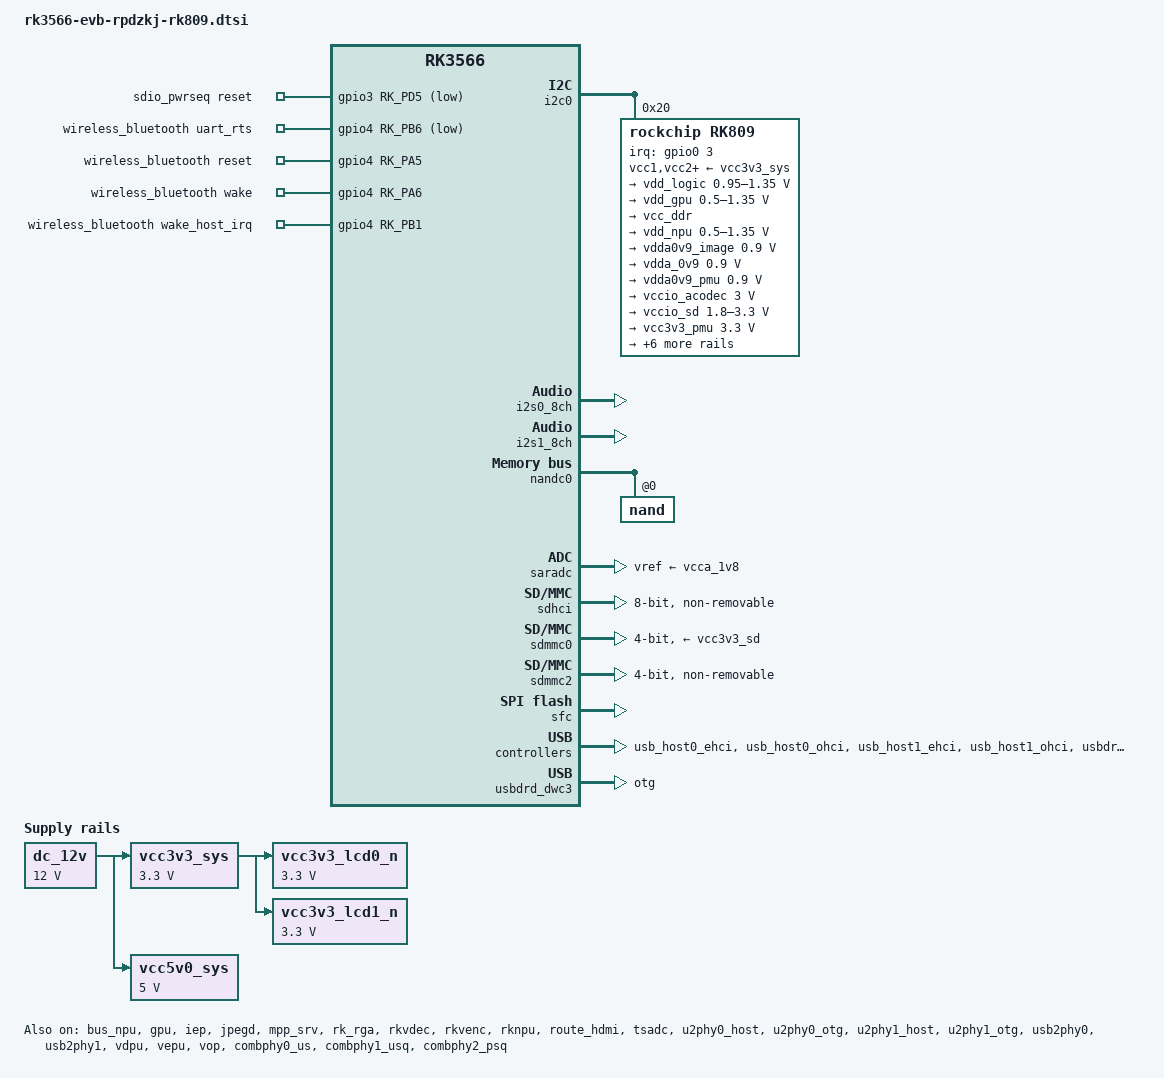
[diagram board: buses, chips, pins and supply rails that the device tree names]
// SPDX-License-Identifier: (GPL-2.0+ OR MIT)
/*
 * Copyright (c) 2020 Rockchip Electronics Co., Ltd.
 *
 */

#include <dt-bindings/gpio/gpio.h>
#include <dt-bindings/pwm/pwm.h>
#include <dt-bindings/pinctrl/rockchip.h>
#include <dt-bindings/input/rk-input.h>
#include <dt-bindings/display/drm_mipi_dsi.h>
#include <dt-bindings/sensor-dev.h>
#include <dt-bindings/gpio/gpio.h>
#include <dt-bindings/pinctrl/rockchip.h>


#include "rk3566.dtsi"

/ {
	
	rpdzkj:rpdzkj_config {
		compatible = "rp_config";
		user_version = "rpdzkj";
		system_rotate = "0";
		csi_camera_rotate = "0"; //all csi camera rotation //0 90 180 270 //no effect
		csi_camera_facing = "0"; //0:auto  1:all front   2:all back //no effect
		usb_camera_rotate = "0"; //all usb camera rotation //0 90 180 270 
		usb_camera_facing = "0"; //0:auto  1:all front   2:all back
		lcd_density = "160";
		language = "zh-CN";   //zh-CN //en-US
		time_zone = "Asia/Shanghai"; //Asia/Shanghai = +8   //Europe/London  = +1       //Africa/Casablanca     = +0;
		not_navigation_bar = "false";
		not_status_bar = "false";
		default_launcher = "true";
		has_root = "true";
		usb_not_permission = "true";
		gps_use = "false";
		gps_serial_port = "/dev/ttyS4";
		primary_device = "DSI";
		extend_device = "HDMI-A";
		extend_rotate = "0";
		rotation_efull = "false";
		home_apk = "null";
		status = "okay";
	};
  
  
	edp_panel:panel {
		status = "disabled";
	};

	lvds_panel: panel@0 {
		status = "disabled";
	};



	audiopwmout_diff: audiopwmout-diff {
		status = "disabled";
		compatible = "simple-audio-card";
		simple-audio-card,format = "i2s";
		simple-audio-card,name = "rockchip,audiopwmout-diff";
		simple-audio-card,mclk-fs = <256>;
		simple-audio-card,bitclock-master = <&master>;
		simple-audio-card,frame-master = <&master>;
		simple-audio-card,cpu {
			sound-dai = <&i2s3_2ch>;
		};
		master: simple-audio-card,codec {
			sound-dai = <&dig_acodec>;
		};
	};
        
        
        
	rk_headset: rk-headset {
		compatible = "rockchip_headset";
//		headset_gpio = <&gpio1 RK_PB0 GPIO_ACTIVE_HIGH>;
	};
	

	dc_12v: dc-12v {
		compatible = "regulator-fixed";
		regulator-name = "dc_12v";
		regulator-always-on;
		regulator-boot-on;
		regulator-min-microvolt = <12000000>;
		regulator-max-microvolt = <12000000>;
	};

	hdmi_sound: hdmi-sound {
		status = "disabled";
		compatible = "rockchip,hdmi";
		rockchip,mclk-fs = <128>;
		rockchip,card-name = "rockchip,hdmi";
		rockchip,cpu = <&i2s0_8ch>;
		rockchip,codec = <&hdmi>;
	};
/*
	leds: leds {
		compatible = "gpio-leds";
		work_led: work {
			gpios = <&gpio0 RK_PC0 GPIO_ACTIVE_HIGH>;
			linux,default-trigger = "heartbeat";
		};
	};
*/
	pdmics: dummy-codec {
		status = "disabled";
		compatible = "rockchip,dummy-codec";
		#sound-dai-cells = <0>;
	};

	pdm_mic_array: pdm-mic-array {
		status = "disabled";
		compatible = "simple-audio-card";
		simple-audio-card,name = "rockchip,pdm-mic-array";
		simple-audio-card,cpu {
			sound-dai = <&pdm>;
		};
		simple-audio-card,codec {
			sound-dai = <&pdmics>;
		};
	};

	rk809_sound: rk809-sound {
		status = "okay";
		compatible = "simple-audio-card";
		simple-audio-card,format = "i2s";
		simple-audio-card,name = "rockchip,rk809-codec";
		simple-audio-card,mclk-fs = <256>;

		simple-audio-card,cpu {
			sound-dai = <&i2s1_8ch>;
		};
		simple-audio-card,codec {
			sound-dai = <&rk809_codec>;
		};
	};

	spdif-sound {
		status = "disabled";
		compatible = "simple-audio-card";
		simple-audio-card,name = "ROCKCHIP,SPDIF";
		simple-audio-card,cpu {
				sound-dai = <&spdif_8ch>;
		};
		simple-audio-card,codec {
				sound-dai = <&spdif_out>;
		};
	};

	spdif_out: spdif-out {
			status = "disabled";
			compatible = "linux,spdif-dit";
			#sound-dai-cells = <0>;
	};

	vad_sound: vad-sound {
		status = "disabled";
		compatible = "rockchip,multicodecs-card";
		rockchip,card-name = "rockchip,rk3568-vad";
		rockchip,cpu = <&i2s1_8ch>;
		rockchip,codec = <&rk809_codec>, <&vad>;
	};

	vcc3v3_sys: vcc3v3-sys {
		compatible = "regulator-fixed";
		regulator-name = "vcc3v3_sys";
		regulator-always-on;
		regulator-boot-on;
		regulator-min-microvolt = <3300000>;
		regulator-max-microvolt = <3300000>;
		vin-supply = <&dc_12v>;
	};

	vcc5v0_sys: vcc5v0-sys {
		compatible = "regulator-fixed";
		regulator-name = "vcc5v0_sys";
		regulator-always-on;
		regulator-boot-on;
		regulator-min-microvolt = <5000000>;
		regulator-max-microvolt = <5000000>;
		vin-supply = <&dc_12v>;
	};
/*
	vcc5v0_usb: vcc5v0-usb {
		compatible = "regulator-fixed";
		regulator-name = "vcc5v0_usb";
		regulator-always-on;
		regulator-boot-on;
		regulator-min-microvolt = <5000000>;
		regulator-max-microvolt = <5000000>;
		vin-supply = <&dc_12v>;
	};

	vcc5v0_host: vcc5v0-host-regulator {
		compatible = "regulator-fixed";
		regulator-name = "vcc5v0_host";
		regulator-boot-on;
		regulator-always-on;
		regulator-min-microvolt = <5000000>;
		regulator-max-microvolt = <5000000>;
		enable-active-high;
//		gpio = <&gpio0 RK_PA6 GPIO_ACTIVE_HIGH>;
//		pinctrl-names = "default";
//		pinctrl-0 = <&vcc5v0_host_en>;
	};


	vcc5v0_otg: vcc5v0-otg-regulator {
		compatible = "regulator-fixed";
		regulator-name = "vcc5v0_otg";
		regulator-min-microvolt = <5000000>;
		regulator-max-microvolt = <5000000>;
		enable-active-high;
//		gpio = <&gpio0 RK_PA5 GPIO_ACTIVE_HIGH>;
		vin-supply = <&vcc5v0_usb>;
//		pinctrl-names = "default";
//		pinctrl-0 = <&vcc5v0_otg_en>;
	};

	vcc3v3_bu: vcc3v3-bu {
		compatible = "regulator-fixed";
		regulator-name = "vcc3v3_bu";
		regulator-always-on;
		regulator-boot-on;
		regulator-min-microvolt = <3300000>;
		regulator-max-microvolt = <3300000>;
		vin-supply = <&vcc5v0_sys>;
	};
*/

/*
	vcc3v3_lcd_n: vcc3v3-lcd-n {
		compatible = "regulator-fixed";
		regulator-name = "vcc3v3_lcd_n";
		regulator-boot-on;
		regulator-min-microvolt = <3300000>;
		regulator-max-microvolt = <3300000>;
		enable-active-high;
//		gpio = <&gpio0 RK_PC7 GPIO_ACTIVE_HIGH>;
		vin-supply = <&vcc3v3_sys>;

		regulator-state-mem {
			regulator-off-in-suspend;
		};
	};
*/
	vcc3v3_lcd0_n: vcc3v3-lcd0-n {
		compatible = "regulator-fixed";
		regulator-name = "vcc3v3_lcd0_n";
		regulator-boot-on;
		regulator-min-microvolt = <3300000>;
		regulator-max-microvolt = <3300000>;
		enable-active-high;
//		gpio = <&gpio0 RK_PC7 GPIO_ACTIVE_HIGH>;
		vin-supply = <&vcc3v3_sys>;

		regulator-state-mem {
			regulator-off-in-suspend;
		};
	};

	vcc3v3_lcd1_n: vcc3v3-lcd1-n {
		compatible = "regulator-fixed";
		regulator-name = "vcc3v3_lcd1_n";
		regulator-boot-on;
		regulator-min-microvolt = <3300000>;
		regulator-max-microvolt = <3300000>;
		enable-active-high;
//		gpio = <&gpio0 RK_PC5 GPIO_ACTIVE_HIGH>;
		vin-supply = <&vcc3v3_sys>;

		regulator-state-mem {
			regulator-off-in-suspend;
		};
	};
	
/*	
	vcc2v5_sys: vcc2v5-ddr {
		compatible = "regulator-fixed";
		regulator-name = "vcc2v5-sys";
		regulator-always-on;
		regulator-boot-on;
		regulator-min-microvolt = <2500000>;
		regulator-max-microvolt = <2500000>;
		vin-supply = <&vcc3v3_sys>;
	};
*/


	sdio_pwrseq: sdio-pwrseq {
		compatible = "mmc-pwrseq-simple";
		clocks = <&rk809 1>;
		clock-names = "ext_clock";
		pinctrl-names = "default";
		pinctrl-0 = <&wifi_enable_h>;

		/*
		 * On the module itself this is one of these (depending
		 * on the actual card populated):
		 * - SDIO_RESET_L_WL_REG_ON
		 * - PDN (power down when low)
		 */
		post-power-on-delay-ms = <200>;
		reset-gpios = <&gpio3 RK_PD5 GPIO_ACTIVE_LOW>;
	};

	wireless_wlan: wireless-wlan {
		compatible = "wlan-platdata";
		rockchip,grf = <&grf>;
		wifi_chip_type = "ap6398s";
		status = "okay";
	};

	wireless_bluetooth: wireless-bluetooth {
		compatible = "bluetooth-platdata";
		clocks = <&rk809 1>;
		clock-names = "ext_clock";
		//wifi-bt-power-toggle;
	uart_rts_gpios = <&gpio4 RK_PB6 GPIO_ACTIVE_LOW>;
	pinctrl-names = "default", "rts_gpio";
	pinctrl-0 = <&uart1m1_rtsn>;
	pinctrl-1 = <&uart1_gpios>;
	BT,reset_gpio    = <&gpio4 RK_PA5 GPIO_ACTIVE_HIGH>;
	BT,wake_gpio     = <&gpio4 RK_PA6 GPIO_ACTIVE_HIGH>;
	BT,wake_host_irq = <&gpio4 RK_PB1 GPIO_ACTIVE_HIGH>;
		status = "okay";
	};

	test-power {
		status = "okay";
	};
};

&bus_npu {
	bus-supply = <&vdd_logic>;
	pvtm-supply = <&vdd_cpu>;
	status = "okay";
};

&cpu0 {
	cpu-supply = <&vdd_cpu>;
};

&dfi {
	status = "disabled";
};

&dmc {
	center-supply = <&vdd_logic>;
	status = "disabled";
};


&gpu {
	mali-supply = <&vdd_gpu>;
	status = "okay";
};


&i2c0 {
	status = "okay";
	rk809: pmic@20 {
		compatible = "rockchip,rk809";
		reg = <0x20>;
		interrupt-parent = <&gpio0>;
		interrupts = <3 IRQ_TYPE_LEVEL_LOW>;

		pinctrl-names = "default", "pmic-sleep",
				"pmic-power-off", "pmic-reset";
		pinctrl-0 = <&pmic_int>;
		pinctrl-1 = <&soc_slppin_slp>, <&rk817_slppin_slp>;
		pinctrl-2 = <&soc_slppin_gpio>, <&rk817_slppin_pwrdn>;
		pinctrl-3 = <&soc_slppin_gpio>, <&rk817_slppin_rst>;

		rockchip,system-power-controller;
		wakeup-source;
		#clock-cells = <1>;
		clock-output-names = "rk808-clkout1", "rk808-clkout2";
		//fb-inner-reg-idxs = <2>;
		/* 1: rst regs (default in codes), 0: rst the pmic */
		pmic-reset-func = <0>;
		/* not save the PMIC_POWER_EN register in uboot */
		not-save-power-en = <1>;

		vcc1-supply = <&vcc3v3_sys>;
		vcc2-supply = <&vcc3v3_sys>;
		vcc3-supply = <&vcc3v3_sys>;
		vcc4-supply = <&vcc3v3_sys>;
		vcc5-supply = <&vcc3v3_sys>;
		vcc6-supply = <&vcc3v3_sys>;
		vcc7-supply = <&vcc3v3_sys>;
		vcc8-supply = <&vcc3v3_sys>;
		vcc9-supply = <&vcc3v3_sys>;

		pwrkey {
			status = "okay";
		};

		pinctrl_rk8xx: pinctrl_rk8xx {
			gpio-controller;
			#gpio-cells = <2>;

			rk817_slppin_null: rk817_slppin_null {
				pins = "gpio_slp";
				function = "pin_fun0";
			};

			rk817_slppin_slp: rk817_slppin_slp {
				pins = "gpio_slp";
				function = "pin_fun1";
			};

			rk817_slppin_pwrdn: rk817_slppin_pwrdn {
				pins = "gpio_slp";
				function = "pin_fun2";
			};

			rk817_slppin_rst: rk817_slppin_rst {
				pins = "gpio_slp";
				function = "pin_fun3";
			};
		};

		regulators {
			vdd_logic: DCDC_REG1 {
				regulator-always-on;
				regulator-boot-on;
				regulator-min-microvolt = <950000>;
				regulator-max-microvolt = <1350000>;
				regulator-init-microvolt = <950000>;
				regulator-ramp-delay = <6001>;
				regulator-initial-mode = <0x2>;
				regulator-name = "vdd_logic";
				regulator-state-mem {
					regulator-off-in-suspend;
				};
			};

			vdd_gpu: DCDC_REG2 {
				regulator-always-on;
				regulator-boot-on;
				regulator-min-microvolt = <500000>;
				regulator-max-microvolt = <1350000>;
				regulator-init-microvolt = <900000>;
				regulator-ramp-delay = <6001>;
				regulator-initial-mode = <0x2>;
				regulator-name = "vdd_gpu";
				regulator-state-mem {
					regulator-off-in-suspend;
				};
			};

			vcc_ddr: DCDC_REG3 {
				regulator-always-on;
				regulator-boot-on;
				regulator-initial-mode = <0x2>;
				regulator-name = "vcc_ddr";
				regulator-state-mem {
					regulator-on-in-suspend;
				};
			};

			vdd_npu: DCDC_REG4 {
				regulator-always-on;
				regulator-boot-on;
				regulator-min-microvolt = <500000>;
				regulator-max-microvolt = <1350000>;
				regulator-init-microvolt = <900000>;
				regulator-ramp-delay = <6001>;
				regulator-initial-mode = <0x2>;
				regulator-name = "vdd_npu";
				regulator-state-mem {
					regulator-off-in-suspend;
				};
			};

			vdda0v9_image: LDO_REG1 {
				regulator-boot-on;
				regulator-always-on;
				regulator-min-microvolt = <900000>;
				regulator-max-microvolt = <900000>;
				regulator-name = "vdda0v9_image";
				regulator-state-mem {
					regulator-off-in-suspend;
				};
			};

			vdda_0v9: LDO_REG2 {
				regulator-always-on;
				regulator-boot-on;
				regulator-min-microvolt = <900000>;
				regulator-max-microvolt = <900000>;
				regulator-name = "vdda_0v9";
				regulator-state-mem {
					regulator-off-in-suspend;
				};
			};

			vdda0v9_pmu: LDO_REG3 {
				regulator-always-on;
				regulator-boot-on;
				regulator-min-microvolt = <900000>;
				regulator-max-microvolt = <900000>;
				regulator-name = "vdda0v9_pmu";
				regulator-state-mem {
					regulator-on-in-suspend;
					regulator-suspend-microvolt = <900000>;
				};
			};

			vccio_acodec: LDO_REG4 {
				regulator-always-on;
				regulator-boot-on;
				regulator-min-microvolt = <3000000>;
				regulator-max-microvolt = <3000000>;
				regulator-name = "vccio_acodec";
				regulator-state-mem {
					regulator-off-in-suspend;
				};
			};

			vccio_sd: LDO_REG5 {
				regulator-always-on;
				regulator-boot-on;
				regulator-min-microvolt = <1800000>;
				regulator-max-microvolt = <3300000>;
				regulator-name = "vccio_sd";
				regulator-state-mem {
					regulator-off-in-suspend;
				};
			};

			vcc3v3_pmu: LDO_REG6 {
				regulator-always-on;
				regulator-boot-on;
				regulator-min-microvolt = <3300000>;
				regulator-max-microvolt = <3300000>;
				regulator-name = "vcc3v3_pmu";
				regulator-state-mem {
					regulator-on-in-suspend;
					regulator-suspend-microvolt = <3300000>;
				};
			};

			vcca_1v8: LDO_REG7 {
				regulator-always-on;
				regulator-boot-on;
				regulator-min-microvolt = <1800000>;
				regulator-max-microvolt = <1800000>;
				regulator-name = "vcca_1v8";
				regulator-state-mem {
					regulator-off-in-suspend;
				};
			};

			vcca1v8_pmu: LDO_REG8 {
				regulator-always-on;
				regulator-boot-on;
				regulator-min-microvolt = <1800000>;
				regulator-max-microvolt = <1800000>;
				regulator-name = "vcca1v8_pmu";
				regulator-state-mem {
					regulator-on-in-suspend;
					regulator-suspend-microvolt = <1800000>;
				};
			};

			vcca1v8_image: LDO_REG9 {
				regulator-always-on;
				regulator-boot-on;
				regulator-min-microvolt = <1800000>;
				regulator-max-microvolt = <1800000>;
				regulator-name = "vcca1v8_image";
				regulator-state-mem {
					regulator-off-in-suspend;
				};
			};

			vcc_1v8: DCDC_REG5 {
				regulator-always-on;
				regulator-boot-on;
				regulator-min-microvolt = <1800000>;
				regulator-max-microvolt = <1800000>;
				regulator-name = "vcc_1v8";
				regulator-state-mem {
					regulator-off-in-suspend;
				};
			};

			vcc_3v3: SWITCH_REG1 {
				regulator-always-on;
				regulator-boot-on;
				regulator-name = "vcc_3v3";
				regulator-state-mem {
					regulator-off-in-suspend;
				};
			};

			vcc3v3_sd: SWITCH_REG2 {
				regulator-always-on;
				regulator-boot-on;
				regulator-name = "vcc3v3_sd";
				regulator-state-mem {
					regulator-off-in-suspend;
				};
			};
		};

		rk809_codec: codec {
			#sound-dai-cells = <0>;
			compatible = "rockchip,rk809-codec", "rockchip,rk817-codec";
			clocks = <&cru I2S1_MCLKOUT>;
			clock-names = "mclk";
			assigned-clocks = <&cru I2S1_MCLKOUT>, <&cru I2S1_MCLK_TX_IOE>;
			assigned-clock-rates = <12288000>;
			assigned-clock-parents = <&cru I2S1_MCLKOUT_TX>, <&cru I2S1_MCLKOUT_TX>;
			pinctrl-names = "default";
			pinctrl-0 = <&i2s1m0_mclk>;
			hp-volume = <3>;	//3(max)-255(min)
			spk-volume = <30>;	//3(max)-255(min)
			capture_volume = <255>;
			//mic-in-differential;
			status = "okay";
		};
	};
};

&i2s0_8ch {
	status = "okay";
};

&i2s1_8ch {
	status = "okay";
	rockchip,clk-trcm = <1>;
	pinctrl-names = "default";
	pinctrl-0 = <&i2s1m0_sclktx
		     &i2s1m0_lrcktx
		     &i2s1m0_sdi0
		     &i2s1m0_sdo0>;
};

&iep {
	status = "okay";
};

&iep_mmu {
	status = "okay";
};

&jpegd {
	status = "okay";
};

&jpegd_mmu {
	status = "okay";
};

&mpp_srv {
	status = "okay";
};

&nandc0 {
	#address-cells = <1>;
	#size-cells = <0>;
	status = "okay";

	nand@0 {
		reg = <0>;
		nand-bus-width = <8>;
		nand-ecc-mode = "hw";
		nand-ecc-strength = <16>;
		nand-ecc-step-size = <1024>;
	};
};

&pinctrl {
	pmic {
		pmic_int: pmic_int {
			rockchip,pins =
				<0 RK_PA3 RK_FUNC_GPIO &pcfg_pull_up>;
		};

		soc_slppin_gpio: soc_slppin_gpio {
			rockchip,pins =
				<0 RK_PA2 RK_FUNC_GPIO &pcfg_output_low_pull_down>;
		};

		soc_slppin_slp: soc_slppin_slp {
			rockchip,pins =
				<0 RK_PA2 1 &pcfg_pull_up>;
		};

		soc_slppin_rst: soc_slppin_rst {
			rockchip,pins =
				<0 RK_PA2 2 &pcfg_pull_none>;
		};
	};

	sdio-pwrseq {
		wifi_enable_h: wifi-enable-h {
			rockchip,pins = <3 RK_PD5 RK_FUNC_GPIO &pcfg_pull_none>;
		};
	};
/*
	usb {
		vcc5v0_host_en: vcc5v0-host-en {
			rockchip,pins = <0 RK_PA6 RK_FUNC_GPIO &pcfg_pull_none>;
		};

		vcc5v0_otg_en: vcc5v0-otg-en {
			rockchip,pins = <0 RK_PA5 RK_FUNC_GPIO &pcfg_pull_none>;
		};
	};
*/
	wireless-bluetooth {
		uart1_gpios: uart1-gpios {
			rockchip,pins = <4 RK_PB6 RK_FUNC_GPIO &pcfg_pull_none>;
		};
	};
};

 /*
  * There are 10 independent IO domains in RK3566/RK3568, including PMUIO[0:2] and VCCIO[1:7].
  * 1/ PMUIO0 and PMUIO1 are fixed-level power domains which cannot be configured;
  * 2/ PMUIO2 and VCCIO1,VCCIO[3:7] domains require that their hardware power supply voltages
  *    must be consistent with the software configuration correspondingly
  *	a/ When the hardware IO level is connected to 1.8V, the software voltage configuration
  *	   should also be configured to 1.8V accordingly;
  *	b/ When the hardware IO level is connected to 3.3V, the software voltage configuration
  *	   should also be configured to 3.3V accordingly;
  * 3/ VCCIO2 voltage control selection (0xFDC20140)
  *	BIT[0]: 0x0: from GPIO_0A7 (default)
  *	BIT[0]: 0x1: from GRF
  *    Default is determined by Pin FLASH_VOL_SEL/GPIO0_A7:
  *	L:VCCIO2 must supply 3.3V
  *	H:VCCIO2 must supply 1.8V
  */
&pmu_io_domains {
	status = "okay";
	pmuio2-supply = <&vcc3v3_pmu>;
	vccio1-supply = <&vccio_acodec>;
	vccio3-supply = <&vccio_sd>;
	vccio4-supply = <&vcc_3v3>;
	vccio5-supply = <&vcc_3v3>;
	vccio6-supply = <&vcc_3v3>;
	vccio7-supply = <&vcc_3v3>;
};


&rk_rga {
	status = "okay";
};

&rkvdec {
	status = "okay";
};

&rkvdec_mmu {
	status = "okay";
};

&rkvenc {
	venc-supply = <&vdd_logic>;
	status = "okay";
};

&rkvenc_mmu {
	status = "okay";
};

&rknpu {
	rknpu-supply = <&vdd_npu>;
	status = "okay";
};

&rknpu_mmu {
	status = "okay";
};

&route_hdmi {
	status = "okay";
	connect = <&vp0_out_hdmi>;
};

&saradc {
	status = "okay";
	vref-supply = <&vcca_1v8>;
};

&sdhci {
	bus-width = <8>;
	supports-emmc;
	non-removable;
	max-frequency = <200000000>;
	status = "okay";
};

&sdmmc0 {
	max-frequency = <150000000>;
	supports-sd;
	bus-width = <4>;
	cap-mmc-highspeed;
	cap-sd-highspeed;
	disable-wp;
	sd-uhs-sdr104;
	vmmc-supply = <&vcc3v3_sd>;
	vqmmc-supply = <&vccio_sd>;
	pinctrl-names = "default";
	pinctrl-0 = <&sdmmc0_bus4 &sdmmc0_clk &sdmmc0_cmd &sdmmc0_det>;
	status = "okay";
};

&sdmmc2 {
	max-frequency = <150000000>;
	supports-sdio;
	bus-width = <4>;
	disable-wp;
	cap-sd-highspeed;
	cap-sdio-irq;
	keep-power-in-suspend;
	mmc-pwrseq = <&sdio_pwrseq>;
	non-removable;
	pinctrl-names = "default";
	pinctrl-0 = <&sdmmc2m0_bus4 &sdmmc2m0_cmd &sdmmc2m0_clk>;
	sd-uhs-sdr104;
	status = "okay";
};

&sfc {
	status = "okay";
};

&spdif_8ch {
	status = "disabled";
};

&tsadc {
	status = "okay";
};

&u2phy0_host {
//	phy-supply = <&vcc5v0_host>;
	status = "okay";
};

&u2phy0_otg {
//	vbus-supply = <&vcc5v0_otg>;
	status = "okay";
};

&u2phy1_host {
//	phy-supply = <&vcc5v0_host>;
	status = "okay";
};

&u2phy1_otg {
//	phy-supply = <&vcc5v0_host>;
	status = "okay";
};

&usb2phy0 {
	status = "okay";
};

&usb2phy1 {
	status = "okay";
};

&usb_host0_ehci {
	status = "okay";
};

&usb_host0_ohci {
	status = "okay";
};

&usb_host1_ehci {
	status = "okay";
};

&usb_host1_ohci {
	status = "okay";
};

&usbdrd_dwc3 {
	dr_mode = "otg";
	extcon = <&usb2phy0>;
	status = "okay";
};

&usbdrd30 {
	status = "okay";
};

&usbhost_dwc3 {
	status = "okay";
};

&usbhost30 {
	status = "okay";
};

&vad {
	rockchip,audio-src = <&i2s1_8ch>;
	rockchip,buffer-time-ms = <128>;
	rockchip,det-channel = <0>;
	rockchip,mode = <0>;
};

&vdpu {
	status = "okay";
};

&vdpu_mmu {
	status = "okay";
};

&vepu {
	status = "okay";
};

&vepu_mmu {
	status = "okay";
};

&vop {
	status = "okay";
	assigned-clocks = <&cru DCLK_VOP0>, <&cru DCLK_VOP1>;
	assigned-clock-parents = <&pmucru PLL_HPLL>, <&cru PLL_VPLL>;
};

&vop_mmu {
	status = "okay";
};

&dsi0 {
dsi0_panel: panel@0 {
			status = "disabled";
		};
};

&dsi1 {
dsi1_panel: panel@0 {
			status = "disabled";
		};
};


&audiopwmout_diff {
	status = "disabled";
};

&dig_acodec {
	status = "disabled";
	rockchip,pwm-output-mode;
	pinctrl-names = "default";
	pinctrl-0 = <&audiopwm_loutp
		&audiopwm_loutn
		&audiopwm_routp
		&audiopwm_routn
	>;
};
&pdm {
	status = "disabled";
	pinctrl-names = "default";
	pinctrl-0 = <&pdmm1_clk1
		     &pdmm1_sdi1
		     &pdmm1_sdi2
		     &pdmm1_sdi3>;
};

&pdmics {
	status = "disabled";
};

&pdm_mic_array {
	status = "disabled";
};



// sata usb30 pcie phys
&combphy0_us {
	status = "okay";
};

&combphy1_usq {
	status = "okay";
};

&combphy2_psq {
	status = "okay";
};

	

//gpio0_b0 for hub reset pin
/delete-node/ &xin32k;
